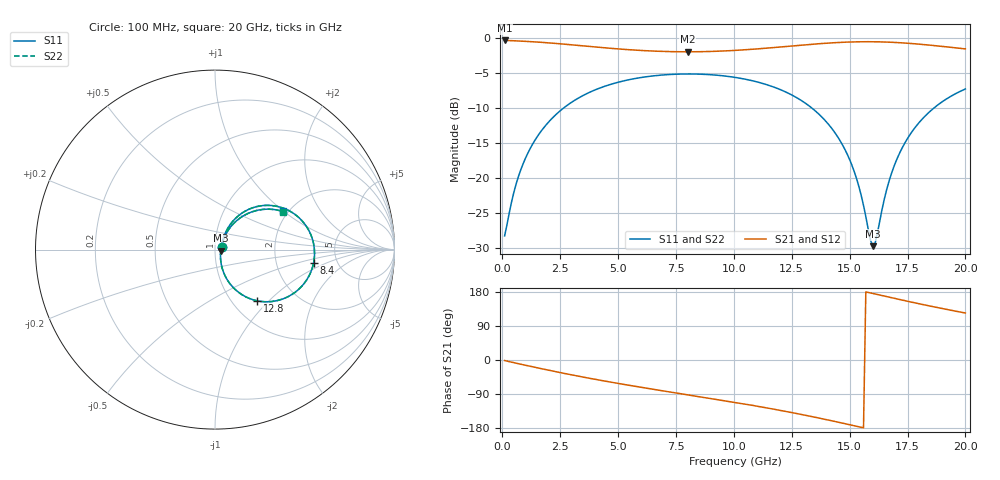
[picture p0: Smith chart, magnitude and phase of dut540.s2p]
! Touchstone file exported from HFSS 2026.1.0
!  File:  C:/ffzhzh/LocalFiles/Ansys_Project_Files/temp_train_TSV_RDL_540_1783113321_35180.aedt
!  Generated:  05:25:45 AM Jul  4, 2026
!  Design:  TSV_RDL
!  Project:  temp_train_TSV_RDL_540_1783113321_35180
! Variables:
!  h_bsmrdl = 2.25um
!  h_ox = 20um
!  h_rdl = 5um
!  h_sub = 75.82um
!  h_tmrdl = 2.49um
!  h_tsv = 75.82um
!  h_via = 3um
!  l_bsmrdl = 632.65um
!  l_sub = 3738.67um
!  l_tmrdl = 332.16um
!  m_sub = 200um
!  pitch = 41.54um
!  r_tsv = 8.42um
!  s_tmrdl = 10um
!  w_bsmrdl = 10.5um
!  w_sub = 500um
!  w_tmrdl = 26.86um
!  x_tsv_center1 = 345.59um
!  x_tsv_center2 = 988.74um
!  x_tsv_center3 = 1347.76um
!  x_tsv_center4 = 1990.91um
!  x_tsv_center5 = 2349.93um
!  x_tsv_center6 = 2993.08um
# GHz S MA R 50.000000
! Terminal data exported
! Port[1] = TM_RDL1_1_T1
! Port[2] = TM_RDL5_1_T1
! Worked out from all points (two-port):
!   200 points, 100 MHz to 20 GHz, reference 50 ohm
!   highest |S21| = -0.32 dB at 100 MHz (marker M1); lowest = -1.9 dB at 8 GHz (marker M2)
!   |S21| within 3 dB of the highest: start of sweep to end of sweep
!   lowest |S11| = -29.7 dB at 16 GHz (marker M3), VSWR 1.07, Z = 53.3 - j0.661 ohm
!   |S11| at or under -10 dB: start of sweep to 2.639 GHz; 13.38 GHz to 18.63 GHz (5.256 GHz wide, 32.8 % of centre)
!   |S22| runs from -29.7 to -5.1 dB; largest |S21 - S12| = 6e-14
!   S11 on the Smith chart (normalised r, x): 100 MHz: 1.07, +0.03; 8.4 GHz: 3.33, -0.69; 12.8 GHz: 1.29, -0.85; 20 GHz: 1.88, +0.98
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0.1  0.03864 20.4  0.964 -1.4  0.964 -1.4  0.03864 20.4
! Gamma 0 0 0 0
! Port Impedance 50 0 50 0
0.6  0.09106 56.1  0.9574 -8.5  0.9574 -8.5  0.09106 56.1
1.3  0.1738 58.4  0.9439 -17.8  0.9439 -17.8  0.1738 58.4
2.2  0.2728 51.9  0.9212 -29.4  0.9212 -29.4  0.2728 51.9
3.5  0.3905 39.1  0.8816 -45.2  0.8816 -45.2  0.3905 39.1
5  0.4845 24.2  0.8387 -61.8  0.8387 -61.8  0.4845 24.2
6.8  0.5439 7.2  0.8062 -80.0  0.8062 -80.0  0.5439 7.2
8  0.5553 -3.8  0.7998 -91.7  0.7998 -91.7  0.5553 -3.8
8.4  0.5544 -7.5  0.8006 -95.6  0.8006 -95.6  0.5544 -7.5
10.1  0.5233 -23.3  0.8194 -112.4  0.8194 -112.4  0.5233 -23.4
12.8  0.3687 -50.6  0.8889 -142.3  0.8889 -142.3  0.3687 -50.7
13.4  0.314 -56.9  0.9061 -149.7  0.9061 -149.7  0.314 -56.9
14.3  0.2186 -65.5  0.9281 -161.3  0.9281 -161.3  0.2186 -65.6
15  0.1357 -69.4  0.9396 -170.7  0.9396 -170.7  0.1357 -69.4
15.4  0.08714 -66.6  0.9432 -176.2  0.9432 -176.2  0.08713 -66.7
16  0.03262 -10.9  0.9438 175.5  0.9438 175.5  0.03255 -11.0
16.1  0.03423 10.2  0.9434 174.1  0.9434 174.1  0.03415 10.2
16.7  0.0948 54.0  0.9373 165.9  0.9373 165.9  0.09476 54.0
17.2  0.1559 55.4  0.9282 159.0  0.9282 159.0  0.1559 55.4
17.9  0.2383 50.6  0.9102 149.7  0.9102 149.7  0.2383 50.5
18.8  0.3327 41.7  0.8811 138.2  0.8811 138.2  0.3327 41.7
20  0.4337 29.3  0.8391 124.0  0.8391 124.0  0.4337 29.3
